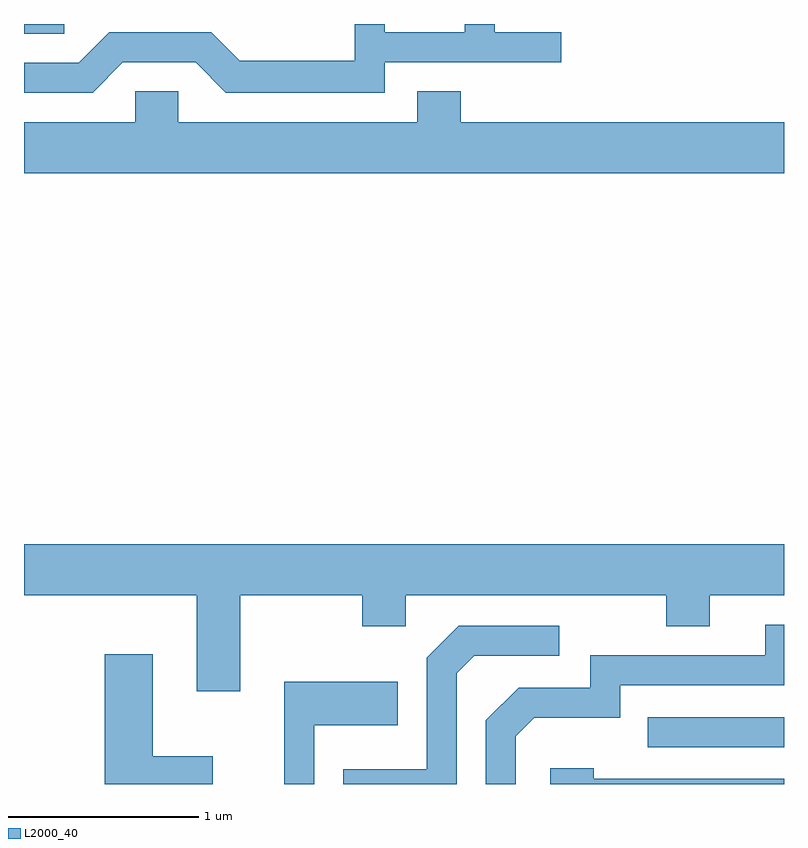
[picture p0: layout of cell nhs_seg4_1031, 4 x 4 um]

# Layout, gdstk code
import gdstk
lib = gdstk.Library(unit=1e-6, precision=1e-09)
def R(c, l, rs):  # rectangles x0, y0, x1, y1
    for r in rs: c.add(gdstk.rectangle(r[:2], r[2:], *l))
def P(c, l, *ps):  # polygons
    for p in ps: c.add(gdstk.Polygon(p, *l))
L2000_40 = (2000, 40)

nhs_seg4_1031 = lib.new_cell('nhs_seg4_1031')
R(nhs_seg4_1031, L2000_40, [(218.893,1276.176,219.611,1276.334), (215.611,1279.931,215.823,1279.982)])
P(nhs_seg4_1031, L2000_40, [(216.132,1279.781),(216.514,1279.781),(216.674,1279.621),(217.509,1279.621),(217.509,1279.781),(218.438,1279.781),(218.438,1279.939),(218.089,1279.939),(218.089,1279.982),(217.931,1279.982),(217.931,1279.939),(217.509,1279.939),(217.509,1279.982),(217.351,1279.982),(217.351,1279.789),(216.747,1279.789),(216.597,1279.939),(216.059,1279.939),(215.899,1279.779),(215.611,1279.779),(215.611,1279.621),(215.972,1279.621)],
  [(219.611,1279.464),(217.909,1279.464),(217.909,1279.629),(217.681,1279.629),(217.681,1279.464),(216.424,1279.464),(216.424,1279.629),(216.196,1279.629),(216.196,1279.464),(215.611,1279.464),(215.611,1279.196),(219.611,1279.196)],
  [(216.749,1276.976),(217.391,1276.976),(217.391,1276.811),(217.619,1276.811),(217.619,1276.976),(218.991,1276.976),(218.991,1276.811),(219.219,1276.811),(219.219,1276.976),(219.611,1276.976),(219.611,1277.244),(215.611,1277.244),(215.611,1276.976),(216.521,1276.976),(216.521,1276.471),(216.749,1276.471)],
  [(218.199,1276.234),(218.297,1276.331),(218.749,1276.331),(218.749,1276.501),(219.611,1276.501),(219.611,1276.819),(219.511,1276.819),(219.511,1276.659),(218.591,1276.659),(218.591,1276.489),(218.214,1276.489),(218.041,1276.317),(218.041,1275.982),(218.199,1275.982)],
  [(217.889,1276.564),(217.982,1276.656),(218.428,1276.656),(218.428,1276.814),(217.899,1276.814),(217.731,1276.647),(217.731,1276.059),(217.291,1276.059),(217.291,1275.982),(217.889,1275.982)],
  [(216.604,1276.129),(216.289,1276.129),(216.289,1276.664),(216.036,1276.664),(216.036,1275.982),(216.604,1275.982)],
  [(217.139,1276.291),(217.579,1276.291),(217.579,1276.519),(216.981,1276.519),(216.981,1275.982),(217.139,1275.982)],
  [(219.611,1276.009),(218.609,1276.009),(218.609,1276.064),(218.381,1276.064),(218.381,1275.982),(219.611,1275.982)])

lib.write_gds('nhs_seg4_1031.gds')
